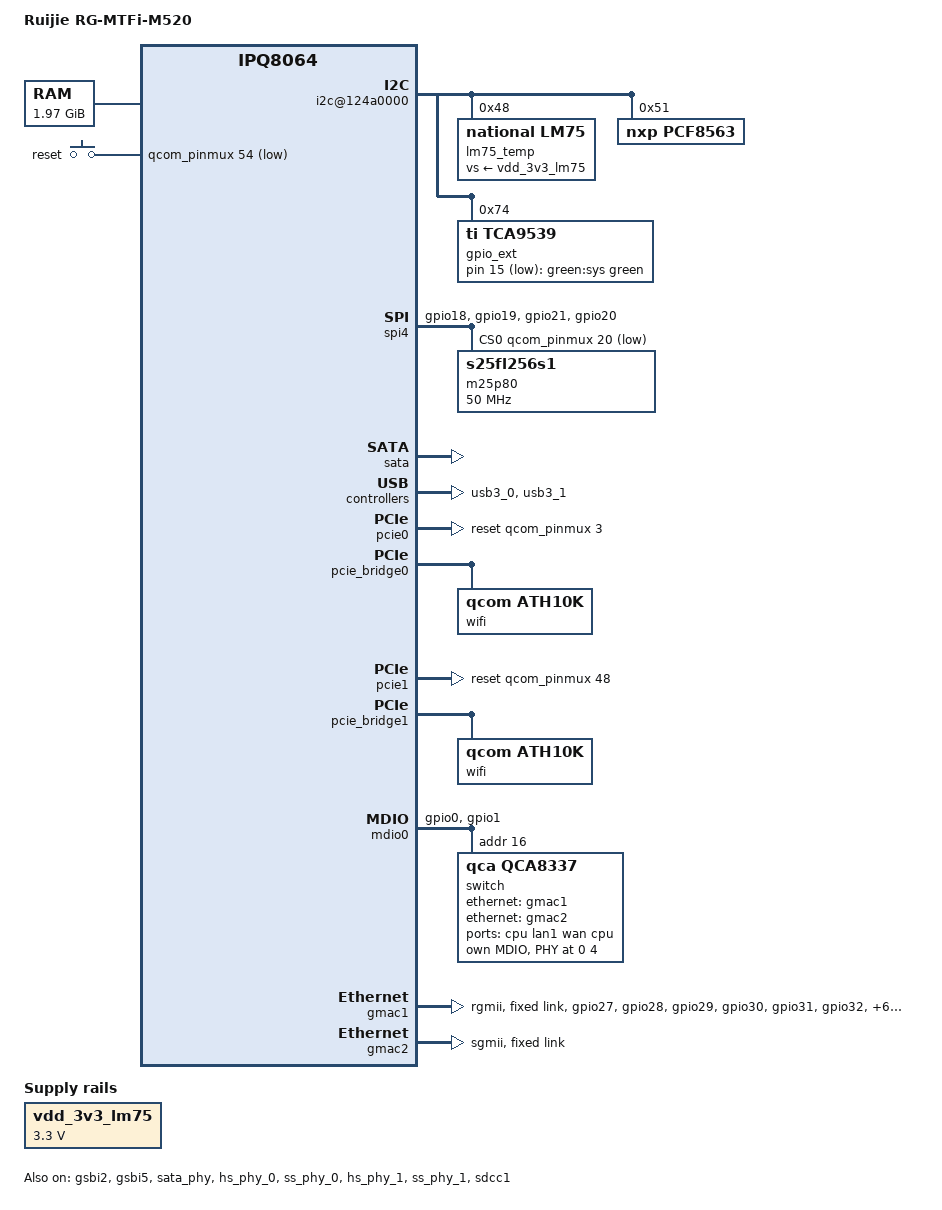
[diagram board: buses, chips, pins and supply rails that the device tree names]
// SPDX-License-Identifier: GPL-2.0-or-later OR MIT

#include "qcom-ipq8064-v2.0-smb208.dtsi"

#include <dt-bindings/input/input.h>
#include <dt-bindings/leds/common.h>

/ {
	model = "Ruijie RG-MTFi-M520";
	compatible = "ruijie,rg-mtfi-m520", "qcom,ipq8064";

	memory@0 {
		reg = <0x42000000 0x7e000000>;
		device_type = "memory";
	};

	reserved-memory {
		#address-cells = <1>;
		#size-cells = <1>;
		ranges;

		ramoops@42100000 {
			compatible = "ramoops";
			reg = <0x42100000 0x40000>;
			record-size = <0x4000>;
			console-size = <0x4000>;
			ftrace-size = <0x4000>;
			pmsg-size = <0x4000>;
		};
	};

	thermal-zones {
		sensor0-thermal {
			polling-delay-passive = <250>;
			polling-delay = <1000>;
			thermal-sensors = <&tsens 0>;

			trips {
				cpu-critical {
					temperature = <105000>;
					hysteresis = <2000>;
					type = "critical";
				};

				cpu-hot {
					temperature = <95000>;
					hysteresis = <2000>;
					type = "hot";
				};

				cpu_passive: cpu-passive {
					temperature = <90000>;
					hysteresis = <2000>;
					type = "passive";
				};
			};

			cooling-maps {
				map0 {
					trip = <&cpu_passive>;
					cooling-device = <&cpu0 0 10>;
				};

				map1 {
					trip = <&cpu_passive>;
					cooling-device = <&cpu1 0 10>;
				};
			};
		};

		board-thermal {
			polling-delay-passive = <0>;
			polling-delay = <10000>;
			thermal-sensors = <&lm75_temp>;

			trips {
				board-critical {
					temperature = <95000>;
					hysteresis = <2000>;
					type = "critical";
				};

				board-hot {
					temperature = <80000>;
					hysteresis = <2000>;
					type = "hot";
				};
			};
		};
	};

	aliases {
		mdio-gpio0 = &mdio0;
		sdcc1 = &sdcc1;

		led-boot = &led_sys;
		led-failsafe = &led_sys;
		led-running = &led_sys;
		led-upgrade = &led_sys;
	};

	chosen {
		bootargs = "root=/dev/mmcblk0p3 rootfstype=squashfs,ext4 rootwait noinitrd usbcore.autosuspend=-1";
	};

	leds {
		compatible = "gpio-leds";

		led_sys: sys {
			label = "green:sys";
			function = LED_FUNCTION_STATUS;
			color = <LED_COLOR_ID_GREEN>;
			gpios = <&gpio_ext 15 GPIO_ACTIVE_LOW>;
		};
	};

	keys {
		compatible = "gpio-keys";
		pinctrl-0 = <&button_pins>;
		pinctrl-names = "default";

		reset {
			label = "reset";
			gpios = <&qcom_pinmux 54 GPIO_ACTIVE_LOW>;
			linux,code = <KEY_RESTART>;
		};
	};

	vdd_3v3_lm75: regulator-lm75-vdd {
		compatible = "regulator-fixed";
		regulator-name = "lm75-vdd";
		regulator-min-microvolt = <3300000>;
		regulator-max-microvolt = <3300000>;
		regulator-always-on;
	};
};

&qcom_pinmux {
	button_pins: button_pins {
		mux {
			pins = "gpio54";
			function = "gpio";
			drive-strength = <2>;
			bias-pull-up;
		};
	};

	mdio0_pins: mdio0-state {
		/delete-property/ pins;
		/delete-property/ function;
		/delete-property/ drive-strength;
		/delete-property/ bias-disable;

		mux {
			pins = "gpio0", "gpio1";
			function = "mdio";
			drive-strength = <8>;
			bias-disable;
		};

		clk {
			pins = "gpio1";
			input-disable;
		};
	};

	rgmii2_pins: rgmii2-state {
		/delete-property/ pins;
		/delete-property/ function;
		/delete-property/ drive-strength;
		/delete-property/ bias-disable;

		mux {
			pins = "gpio27", "gpio28", "gpio29",
			       "gpio30", "gpio31", "gpio32",
			       "gpio51", "gpio52", "gpio59",
			       "gpio60", "gpio61", "gpio62";
			function = "rgmii2";
			drive-strength = <8>;
			bias-disable;
		};

		tx {
			pins = "gpio27", "gpio28", "gpio29", "gpio30", "gpio31", "gpio32";
			input-disable;
		};
	};

	sdcc1_pins: sdcc1_pinmux {
		mux {
			pins =	"gpio38", "gpio39", "gpio40", "gpio41", "gpio42",
				"gpio43", "gpio44", "gpio45", "gpio46", "gpio47";
			function = "sdc1";
		};

		cmd {
			pins = "gpio45";
			drive-strength = <10>;
			bias-pull-up;
		};

		data {
			pins =	"gpio38", "gpio39", "gpio40", "gpio41",
				"gpio43", "gpio44", "gpio46", "gpio47";
			drive-strength = <10>;
			bias-pull-up;
		};

		clk {
			pins = "gpio42";
			drive-strength = <16>;
			bias-disable;
		};
	};

	spi_pins: spi-state {
		/delete-property/ pins;
		/delete-property/ function;
		/delete-property/ drive-strength;
		/delete-property/ bias-disable;

		mux {
			pins = "gpio18", "gpio19", "gpio21";
			function = "gsbi5";
			drive-strength = <10>;
			bias-none;
		};

		cs {
			pins = "gpio20";
			drive-strength = <12>;
		};
	};
};

&gsbi2 {
	qcom,mode = <GSBI_PROT_I2C_UART>;
	status = "okay";

	i2c@124a0000 {
		status = "okay";

		lm75_temp: temperature-sensor@48 {
			compatible = "national,lm75", "lm75";
			reg = <0x48>;
			vs-supply = <&vdd_3v3_lm75>;
			#thermal-sensor-cells = <0>;
		};

		pcf8563: rtc@51 {
			compatible = "nxp,pcf8563";
			reg = <0x51>;
		};

		gpio_ext: tca9539@74 {
			compatible = "ti,tca9539";
			reg = <0x74>;

			gpio-controller;
			#gpio-cells = <2>;
		};
	};
};

&gsbi5 {
	qcom,mode = <GSBI_PROT_SPI>;
	status = "okay";

	spi4: spi@1a280000 {
		status = "okay";

		pinctrl-0 = <&spi_pins>;
		pinctrl-names = "default";

		cs-gpios = <&qcom_pinmux 20 GPIO_ACTIVE_LOW>;

		m25p80@0 {
			compatible = "s25fl256s1";
			#address-cells = <1>;
			#size-cells = <1>;
			spi-max-frequency = <50000000>;
			reg = <0>;

			SBL1@0 {
				label = "SBL1";
				reg = <0x0 0x10000>;
				read-only;
			};

			MIBIB@10000 {
				label = "MIBIB";
				reg = <0x10000 0x10000>;
				read-only;
			};

			SBL2@20000 {
				label = "SBL2";
				reg = <0x20000 0x20000>;
				read-only;
			};

			SBL3@40000 {
				label = "SBL3";
				reg = <0x40000 0x30000>;
				read-only;
			};

			DDRCONFIG@70000 {
				label = "DDRCONFIG";
				reg = <0x70000 0x10000>;
				read-only;
			};

			PRODUCTINFO@80000 {
				label = "PRODUCTINFO";
				reg = <0x80000 0x10000>;
				read-only;
			};

			TZ@90000 {
				label = "TZ";
				reg = <0x90000 0x30000>;
				read-only;
			};

			RPM@c0000 {
				label = "RPM";
				reg = <0xc0000 0x20000>;
				read-only;
			};

			APPSBL@e0000 {
				label = "APPSBL";
				reg = <0xe0000 0x80000>;
				read-only;
			};

			APPSBLENV@160000 {
				label = "APPSBLENV";
				reg = <0x160000 0x10000>;
				read-only;
			};

			BOOTCONFIG@170000 {
				label = "BOOTCONFIG";
				reg = <0x170000 0x10000>;
				read-only;
			};

			ART@180000 {
				label = "ART";
				reg = <0x180000 0x40000>;
				read-only;

				nvmem-layout {
					compatible = "fixed-layout";
					#address-cells = <1>;
					#size-cells = <1>;

					precal_ART_1000: precal@1000 {
						reg = <0x1000 0x844>;
					};

					precal_ART_5000: precal@5000 {
						reg = <0x5000 0x844>;
					};
				};
			};
		};
	};
};

&sata_phy {
	status = "okay";
};

&sata {
	status = "okay";
};

&hs_phy_0 {
	status = "okay";
};

&ss_phy_0 {
	status = "okay";
};

&usb3_0 {
	status = "okay";
};

&hs_phy_1 {
	status = "okay";
};

&ss_phy_1 {
	status = "okay";
};

&usb3_1 {
	status = "okay";
};

&pcie0 {
	status = "okay";
	reset-gpio = <&qcom_pinmux 3 GPIO_ACTIVE_HIGH>;
	pinctrl-0 = <&pcie0_pins>;
	pinctrl-names = "default";
};

&pcie_bridge0 {
	wifi@0,0 {
		compatible = "qcom,ath10k";
		reg = <0x00010000 0 0 0 0>;
		nvmem-cells = <&precal_ART_1000>;
		nvmem-cell-names = "pre-calibration";
	};
};

&pcie1 {
	status = "okay";
	reset-gpio = <&qcom_pinmux 48 GPIO_ACTIVE_HIGH>;
	pinctrl-0 = <&pcie1_pins>;
	pinctrl-names = "default";
	max-link-speed = <1>;
};

&pcie_bridge1 {
	wifi@0,0 {
		compatible = "qcom,ath10k";
		reg = <0x00010000 0 0 0 0>;
		nvmem-cells = <&precal_ART_5000>;
		nvmem-cell-names = "pre-calibration";
	};
};

&mdio0 {
	status = "okay";

	pinctrl-0 = <&mdio0_pins>;
	pinctrl-names = "default";

	switch@10 {
		compatible = "qca,qca8337";
		#address-cells = <1>;
		#size-cells = <0>;
		reg = <0x10>;

		ports {
			#address-cells = <1>;
			#size-cells = <0>;

			port@0 {
				reg = <0>;
				label = "cpu";
				ethernet = <&gmac1>;
				phy-mode = "rgmii";
				tx-internal-delay-ps = <1000>;
				rx-internal-delay-ps = <1000>;

				fixed-link {
					speed = <1000>;
					full-duplex;
				};
			};

			port@1 {
				reg = <1>;
				label = "lan1";
				phy-mode = "internal";
				phy-handle = <&phy_port1>;
			};

			port@5 {
				reg = <5>;
				label = "wan";
				phy-mode = "internal";
				phy-handle = <&phy_port5>;
			};

			port@6 {
				reg = <6>;
				label = "cpu";
				ethernet = <&gmac2>;
				phy-mode = "sgmii";
				qca,sgmii-enable-pll;

				fixed-link {
					speed = <1000>;
					full-duplex;
				};
			};
		};

		mdio {
			#address-cells = <1>;
			#size-cells = <0>;

			phy_port1: phy@0 {
				reg = <0>;
			};

			phy_port5: phy@4 {
				reg = <4>;
			};
		};
	};
};

/*
 * NSS GMAC common node (required by qca-nss-gmac)
 * reg[0] NSS GMAC regs 0x03000000
 * reg[1] QSGMII regs   0x1bb00000
 * reg[2] clk control   0x00900000
 */
&{/} {
	nss-gmac-common {
		compatible = "simple-bus";
		#address-cells = <1>;
		#size-cells = <1>;
		ranges;

		reg = <0x03000000 0x0000FFFF>,
		      <0x1bb00000 0x0000FFFF>,
		      <0x00900000 0x00004000>;
	};
};

&gmac1 {
	status = "okay";
	device_type = "network";
	compatible = "qcom,nss-gmac";
	reg = <0x37200000 0x200000>;
	interrupts = <GIC_SPI 223 IRQ_TYPE_LEVEL_HIGH>;
	phy-mode = "rgmii";
	qcom,id = <1>;
	qcom,pcs-chanid = <0>;
	qcom,phy-mdio-addr = <4>;
	qcom,poll-required = <0>;
	qcom,rgmii-delay = <1>;
	qcom,phy_mii_type = <0>;
	qcom,emulation = <0>;
	qcom,forced-speed = <1000>;
	qcom,forced-duplex = <1>;
	qcom,socver = <0>;
	qcom,irq = <255>;
	mdiobus = <&mdio0>;
	pinctrl-0 = <&rgmii2_pins>;
	pinctrl-names = "default";
	fixed-link {
		speed = <1000>;
		full-duplex;
	};
};

&gmac2 {
	status = "okay";
	device_type = "network";
	compatible = "qcom,nss-gmac";
	reg = <0x37400000 0x200000>;
	interrupts = <GIC_SPI 226 IRQ_TYPE_LEVEL_HIGH>;
	phy-mode = "sgmii";
	qcom,id = <2>;
	qcom,pcs-chanid = <1>;
	qcom,phy-mdio-addr = <0>;
	qcom,poll-required = <0>;
	qcom,rgmii-delay = <0>;
	qcom,phy_mii_type = <1>;
	qcom,emulation = <0>;
	qcom,forced-speed = <1000>;
	qcom,forced-duplex = <1>;
	qcom,socver = <0>;
	qcom,irq = <258>;
	mdiobus = <&mdio0>;
	fixed-link {
		speed = <1000>;
		full-duplex;
	};
};

&sdcc1 {
	status = "okay";
	pinctrl-0 = <&sdcc1_pins>;
	pinctrl-names = "default";
};

&adm_dma {
	status = "okay";
};

&CPU_SPC {
	status = "disabled";
};
